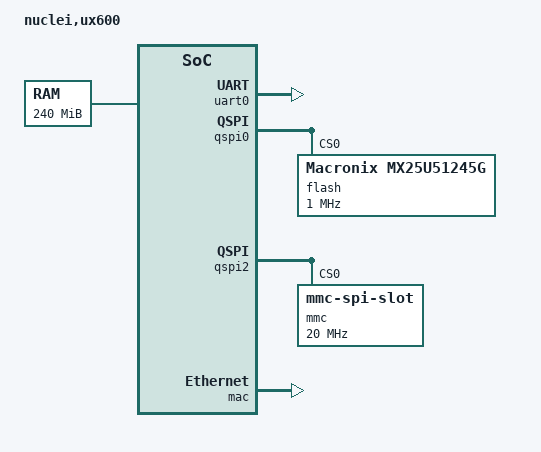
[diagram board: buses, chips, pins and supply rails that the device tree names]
// SPDX-License-Identifier: (GPL-2.0 OR MIT)
/* Copyright (c) 2020 Nuclei System Technologies */

/* Clock frequency (in Hz) of the PCB crystal for rtcclk */
#define RTCCLK_FREQ		48828

/dts-v1/;

/ {
  #address-cells = <2>;
  #size-cells = <2>;
  compatible = "nuclei,ux600";
  model = "nuclei,ux600";

  chosen {
     bootargs = "earlycon=sbi";
  };

  cpus {
    #address-cells = <1>;
    #size-cells = <0>;
    timebase-frequency = <RTCCLK_FREQ>;
    cpu0: cpu@0 {
      device_type = "cpu";
      reg = <0>;
      status = "okay";
      compatible = "riscv";
      riscv,isa = "rv64imafdc";
      mmu-type = "riscv,sv39";
      clock-frequency = <400000000>;
      cpu0_intc: interrupt-controller {
        #interrupt-cells = <1>;
        interrupt-controller;
        compatible = "riscv,cpu-intc";
      };
    };
  };

  memory@41000000 {
    device_type = "memory";
    reg = <0x0 0x41000000 0x0 0xf000000>;
  };

  soc {
    #address-cells = <2>;
    #size-cells = <2>;
    compatible = "nuclei,ux600", "simple-bus";
    ranges;
  };

  hfclk: hfclk {
  	#clock-cells = <0>;
  	compatible = "fixed-clock";
  	clock-frequency = <200000000>;
  	clock-output-names = "hfclk";
  };

  console {
		compatible = "sbi,console";
  };

  plic0: interrupt-controller@8000000 {
	#interrupt-cells = <1>;
	compatible = "riscv,plic0";
	interrupt-controller;
    riscv,ndev = <53>;
	interrupts-extended =
		<&cpu0_intc 11 &cpu0_intc 9>;
	reg = <0x0 0x8000000 0x0 0x4000000>;
  };

  uart0: serial@10013000 {
      compatible = "sifive,uart0";
      reg = <0x0 0x10013000 0x0 0x1000>;
      interrupt-parent = <&plic0>;
      interrupts = <2>;
      clocks = <&hfclk>;
      status = "okay";
  };
  
  uart1: serial@10012000 {
      compatible = "sifive,uart0";
      reg = <0x0 0x10012000 0x0 0x1000>;
      interrupt-parent = <&plic0>;
      interrupts = <3>;
      status = "disabled";
  };
  
  qspi0: spi@10014000 {
  	compatible = "sifive,spi0";
  	reg = <0x0 0x10014000 0x0 0x1000>;
  	interrupt-parent = <&plic0>;
  	interrupts = <5>;
  	clocks = <&hfclk>;
  	num-cs = <2>;
  	#address-cells = <1>;
  	#size-cells = <0>;
  	status = "okay";
  
  	flash@0 {
  		compatible = "Macronix,mx25u51245g", "jedec,spi-nor";
  		reg = <0>;
  		spi-max-frequency = <1000000>;
  		m25p,fast-read;
  		spi-tx-bus-width = <1>;
  		spi-rx-bus-width = <1>;
  	};
  };
  
  qspi2: spi@10034000 {
  	compatible = "sifive,spi0";
  	reg = <0x0 0x10016000 0x0 0x1000>;
  	interrupt-parent = <&plic0>;
  	interrupts = <36>;
  	clocks = <&hfclk>;
  	num-cs = <1>;
  	#address-cells = <1>;
  	#size-cells = <0>;
  	status = "okay";
  
  	mmc@0 {
  		compatible = "mmc-spi-slot";
  		reg = <0>;
  		spi-max-frequency = <20000000>;
  		voltage-ranges = <3300 3300>;
  		disable-wp;
  	};
  };
  
    mac:ethernet@0x67800000{
  		compatible = "fsl,fsl-mac";
  		reg = <0x0 0x67800000 0x0 0x1000>;
  		interrupt-parent = <&plic0>;
  		interrupts = <10>,<11>,<12>;
  		clocks = <&hfclk>;
  		num-cs = <1>;
  		#address-cells = <1>;
  		#size-cells = <0>;
  		status = "okay";
  	};
};
